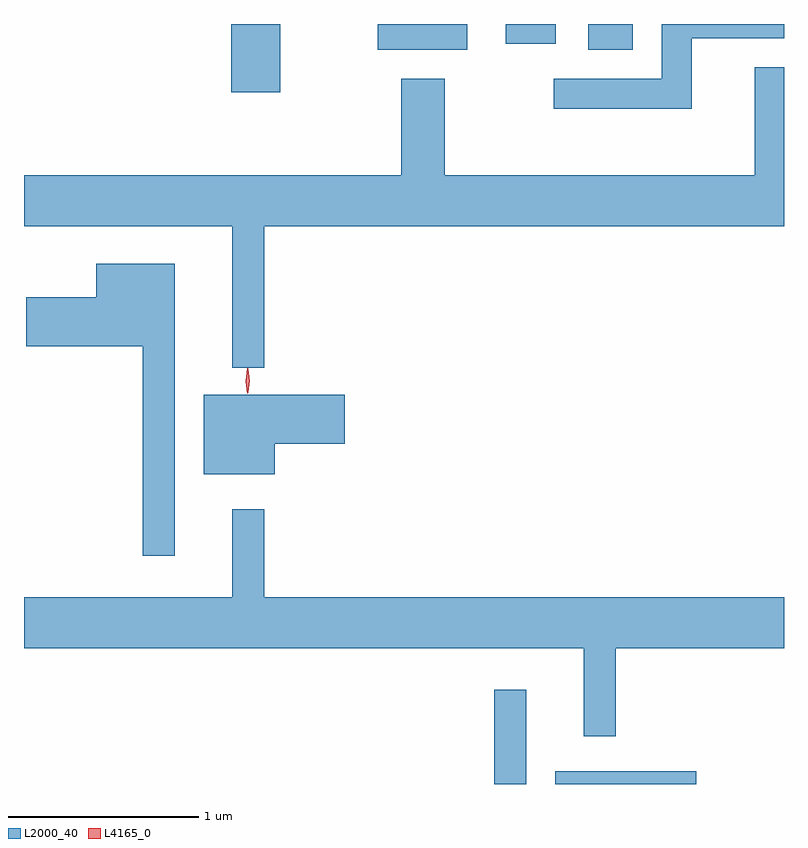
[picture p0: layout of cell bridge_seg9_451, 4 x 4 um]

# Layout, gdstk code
import gdstk
lib = gdstk.Library(unit=1e-6, precision=1e-09)
def R(c, l, rs):  # rectangles x0, y0, x1, y1
    for r in rs: c.add(gdstk.rectangle(r[:2], r[2:], *l))
def P(c, l, *ps):  # polygons
    for p in ps: c.add(gdstk.Polygon(p, *l))
L2000_40 = (2000, 40)
L4165_0 = (4165, 0)

bridge_seg9_451 = lib.new_cell('bridge_seg9_451')
R(bridge_seg9_451, L2000_40, [(477.871,1995.541,478.039,1996.038), (478.191,1995.541,478.934,1995.609), (476.486,1999.181,476.744,1999.541), (477.256,1999.406,477.729,1999.541), (478.366,1999.406,478.599,1999.541), (477.931,1999.436,478.194,1999.541)])
P(bridge_seg9_451, L2000_40, [(478.909,1999.466),(479.395,1999.466),(479.395,1999.541),(478.751,1999.541),(478.751,1999.254),(478.183,1999.254),(478.183,1999.096),(478.909,1999.096)],
  [(476.659,1998.476),(479.395,1998.476),(479.395,1999.314),(479.241,1999.314),(479.241,1998.744),(477.609,1998.744),(477.609,1999.254),(477.381,1999.254),(477.381,1998.744),(475.395,1998.744),(475.395,1998.476),(476.491,1998.476),(476.491,1997.733),(476.659,1997.733)],
  [(476.189,1998.279),(475.776,1998.279),(475.776,1998.104),(475.406,1998.104),(475.406,1997.846),(476.021,1997.846),(476.021,1996.743),(476.189,1996.743)],
  [(476.714,1997.331),(477.084,1997.331),(477.084,1997.589),(476.341,1997.589),(476.341,1997.171),(476.714,1997.171)],
  [(478.509,1996.256),(479.395,1996.256),(479.395,1996.524),(476.659,1996.524),(476.659,1996.988),(476.491,1996.988),(476.491,1996.524),(475.395,1996.524),(475.395,1996.256),(478.341,1996.256),(478.341,1995.793),(478.509,1995.793)])
P(bridge_seg9_451, L4165_0, [(476.573,1997.6),(476.573,1997.6),(476.563,1997.664),(476.573,1997.726),(476.573,1997.727),(476.574,1997.726),(476.583,1997.664),(476.574,1997.6)],
  [(476.569,1997.594),(476.561,1997.662),(476.571,1997.73),(476.571,1997.73),(476.572,1997.73),(476.58,1997.662),(476.57,1997.594),(476.57,1997.594)])

lib.write_gds('bridge_seg9_451.gds')
